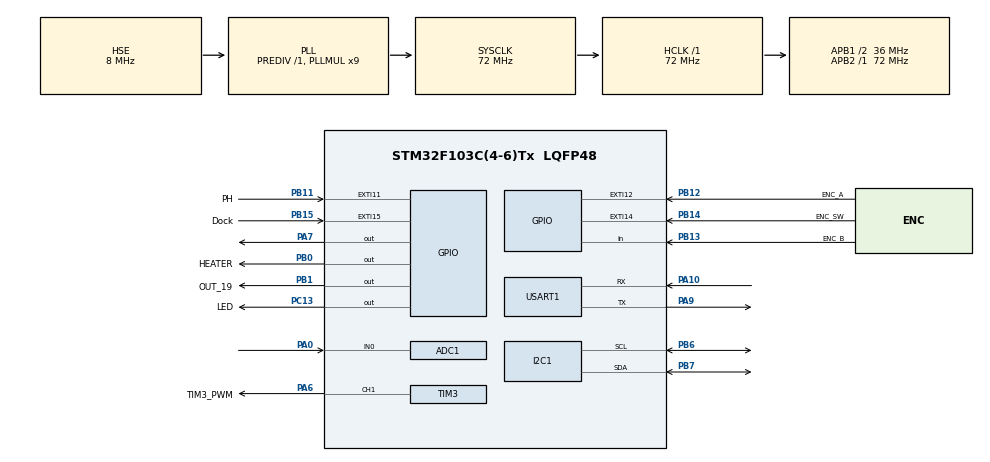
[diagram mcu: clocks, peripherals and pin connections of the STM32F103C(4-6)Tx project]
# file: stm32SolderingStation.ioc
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ADC1.Channel-3\#ChannelRegularConversion=ADC_CHANNEL_VREFINT
ADC1.Channel-4\#ChannelRegularConversion=ADC_CHANNEL_TEMPSENSOR
ADC1.Channel-5\#ChannelRegularConversion=ADC_CHANNEL_0
ADC1.ContinuousConvMode=DISABLE
ADC1.EnableRegularConversion=ENABLE
ADC1.NbrOfConversion=3
ADC1.NbrOfConversionFlag=1
ADC1.Rank-3\#ChannelRegularConversion=1
ADC1.Rank-4\#ChannelRegularConversion=2
ADC1.Rank-5\#ChannelRegularConversion=3
ADC1.SamplingTime-3\#ChannelRegularConversion=ADC_SAMPLETIME_239CYCLES_5
ADC1.SamplingTime-4\#ChannelRegularConversion=ADC_SAMPLETIME_239CYCLES_5
ADC1.SamplingTime-5\#ChannelRegularConversion=ADC_SAMPLETIME_239CYCLES_5
ADC1.master=1
Dma.ADC1.0.Direction=DMA_PERIPH_TO_MEMORY
Dma.ADC1.0.Instance=DMA1_Channel1
Dma.ADC1.0.MemDataAlignment=DMA_MDATAALIGN_WORD
Dma.ADC1.0.MemInc=DMA_MINC_ENABLE
Dma.ADC1.0.Mode=DMA_CIRCULAR
Dma.ADC1.0.PeriphDataAlignment=DMA_PDATAALIGN_WORD
Dma.ADC1.0.PeriphInc=DMA_PINC_DISABLE
Dma.ADC1.0.Priority=DMA_PRIORITY_LOW
Dma.Request0=ADC1
I2C1.I2C_Mode=I2C_Fast
Mcu.Family=STM32F1
Mcu.Name=STM32F103C(4-6)Tx
Mcu.Package=LQFP48
NVIC.ADC1_2_IRQn=true\:0\:0\:false\:false\:true\:true\:true\:true
NVIC.DMA1_Channel1_IRQn=true\:0\:0\:false\:false\:true\:false\:true\:true
NVIC.EXTI15_10_IRQn=true\:1\:0\:true\:false\:true\:true\:true\:true
NVIC.I2C1_ER_IRQn=true\:0\:0\:false\:false\:true\:true\:true\:true
NVIC.I2C1_EV_IRQn=true\:0\:0\:false\:false\:true\:true\:true\:true
NVIC.PriorityGroup=NVIC_PRIORITYGROUP_4
NVIC.TIM2_IRQn=true\:0\:0\:false\:false\:true\:true\:true\:true
PA0-WKUP.Signal=ADCx_IN0
PA1.Signal=ADCx_IN1
PA10.Mode=Asynchronous
PA10.Signal=USART1_RX
PA13.Mode=Serial_Wire
PA13.Signal=SYS_JTMS-SWDIO
PA14.Mode=Serial_Wire
PA14.Signal=SYS_JTCK-SWCLK
PA6.GPIO_Label=TIM3_PWM
PA6.Signal=S_TIM3_CH1
PA7.Signal=GPIO_Output
PA9.Mode=Asynchronous
PA9.Signal=USART1_TX
PB0.GPIO_Label=HEATER
PB0.Signal=GPIO_Output
PB1.GPIO_Label=OUT_19
PB1.Signal=GPIO_Output
PB11.GPIO_Label=PH
PB11.GPIO_ModeDefaultEXTI=GPIO_MODE_IT_RISING_FALLING
PB11.GPIO_PuPd=GPIO_PULLUP
PB11.Signal=GPXTI11
PB12.GPIO_Label=ENC_A
PB12.GPIO_PuPd=GPIO_PULLUP
PB12.Signal=GPXTI12
PB13.GPIO_Label=ENC_B
PB13.GPIO_PuPd=GPIO_PULLUP
PB13.Signal=GPIO_Input
PB14.GPIO_Label=ENC_SW
PB14.GPIO_ModeDefaultEXTI=GPIO_MODE_IT_RISING_FALLING
PB14.GPIO_PuPd=GPIO_PULLUP
PB14.Signal=GPXTI14
PB15.GPIO_Label=Dock
PB15.GPIO_ModeDefaultEXTI=GPIO_MODE_IT_RISING_FALLING
PB15.GPIO_PuPd=GPIO_PULLUP
PB15.Signal=GPXTI15
PB6.Mode=I2C
PB6.Signal=I2C1_SCL
PB7.Mode=I2C
PB7.Signal=I2C1_SDA
PC13-TAMPER-RTC.GPIO_Label=LED
PC13-TAMPER-RTC.Signal=GPIO_Output
PD0-OSC_IN.Mode=HSE-External-Oscillator
PD0-OSC_IN.Signal=RCC_OSC_IN
PD1-OSC_OUT.Mode=HSE-External-Oscillator
PD1-OSC_OUT.Signal=RCC_OSC_OUT
ProjectManager.HeapSize=0x200
ProjectManager.StackSize=0x400
ProjectManager.TargetToolchain=STM32CubeIDE
RCC.ADCPresc=RCC_ADCPCLK2_DIV6
RCC.AHBFreq_Value=72000000
RCC.APB1CLKDivider=RCC_HCLK_DIV2
RCC.APB1Freq_Value=36000000
RCC.APB1TimFreq_Value=72000000
RCC.APB2Freq_Value=72000000
RCC.APB2TimFreq_Value=72000000
RCC.HCLKFreq_Value=72000000
RCC.PLLMUL=RCC_PLL_MUL9
RCC.PLLSourceVirtual=RCC_PLLSOURCE_HSE
RCC.SYSCLKFreq_VALUE=72000000
RCC.SYSCLKSource=RCC_SYSCLKSOURCE_PLLCLK
RCC.USBFreq_Value=72000000
SH.ADCx_IN0.0=ADC1_IN0,IN0
SH.ADCx_IN1.0=ADC1_IN1
SH.S_TIM3_CH1.0=TIM3_CH1,PWM Generation1 CH1
TIM2.AutoReloadPreload=TIM_AUTORELOAD_PRELOAD_DISABLE
TIM2.Period=10-1
TIM2.Prescaler=7200-1
TIM3.Channel-PWM\ Generation1\ CH1=TIM_CHANNEL_1
TIM3.Period=1000
TIM3.Prescaler=71
TIM3.Pulse-PWM\ Generation1\ CH1=400
USART1.VirtualMode=VM_ASYNC
VP_ADC1_TempSens_Input.Mode=IN-TempSens
VP_ADC1_Vref_Input.Mode=IN-Vrefint
VP_TIM2_VS_ClockSourceINT.Mode=Internal
VP_TIM3_VS_ClockSourceINT.Mode=Internal
board=custom

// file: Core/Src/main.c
/* USER CODE BEGIN Header */
/**
  ******************************************************************************
  * @file           : main.c
  * @brief          : Main program body
  ******************************************************************************
  * @attention
  *
  * Copyright (c) 2023 STMicroelectronics.
  * All rights reserved.
  *
  * This software is licensed under terms that can be found in the LICENSE file
  * in the root directory of this software component.
  * If no LICENSE file comes with this software, it is provided AS-IS.
  *
  ******************************************************************************
  */
/* USER CODE END Header */
#include "main.h"

/* USER CODE BEGIN Includes */
#include "common.h"
#include "input.h"
#include "eeprom.h"
//#include "test.h"
#include "buzzerTone.h"

static const int GUI_UPDATE_COUNT = 2; // need change when ADC cycle change to make gui refresh rate at 5/second
//#include "fonts.h"
//#include "ssd1306.h"
/* USER CODE END Includes */

ADC_HandleTypeDef hadc1;
DMA_HandleTypeDef hdma_adc1;

I2C_HandleTypeDef hi2c1;

TIM_HandleTypeDef htim2;
TIM_HandleTypeDef htim3;

UART_HandleTypeDef huart1;

void SystemClock_Config(void);
static void MX_GPIO_Init(void);
static void MX_DMA_Init(void);
static void MX_ADC1_Init(void);
static void MX_I2C1_Init(void);
static void MX_TIM2_Init(void);
static void MX_USART1_UART_Init(void);
static void MX_TIM3_Init(void);

/* USER CODE BEGIN 0 */

uint32_t tempVal;
volatile uint16_t mcreadValue;
volatile uint32_t adcValues[3];
GPIO_PinState preSt = 0;

volatile uint16_t adcCount = 0;

volatile bool updateGui = false; // flag 1-- update GUI

volatile uint8_t HCTickCount = 100; // timer2 tick count. initialized as HCTickMax so adc&&tempCheck can be started immediately.

void sendMsg(char* msg, uint16_t len){
	HAL_UART_Transmit(&huart1, msg , len, 1000);
}
void checkState(){
	if(save2Eeprom()){
		cfgSaveEncTick(getState()->encoderTick);
	}
	checkStateTimeout(HAL_GetTick() );

	// since ext int not work on Han_Dock_Pin, here is the work around
    //checkHighPowerPaddle();
}

void doIt(struct State *pState) {
	HAL_GPIO_TogglePin(GPIOA, GPIO_PIN_7); //test while loop freq
	//HAL_GPIO_TogglePin(LED_GPIO_Port, LED_GPIO_Port);
	checkState();
	//checkBeepFlag();
	if (isExti()) {
		// check input exit interrupt
		resetExti();
	}
	//toneTickHandler();
	if (updateGui ) {
		updateGui = false;
		pState->currentTemp = v2temp(pState->currentAdcVal);
		guiUpdate(adcValues); //TODO
	}
}

/* USER CODE END 0 */

int main(void)
{
  /* USER CODE BEGIN 1 */
	uint8_t message[10] = {' '};
	sendMsg("start", 5);

  /* USER CODE END 1 */

  /* MCU Configuration--------------------------------------------------------*/

  /* Reset of all peripherals, Initializes the Flash interface and the Systick. */
  HAL_Init();

  /* Configure the system clock */
  SystemClock_Config();

  /* Initialize all configured peripherals */
  MX_GPIO_Init();
  MX_DMA_Init();
  MX_ADC1_Init();
  MX_I2C1_Init();
  MX_TIM2_Init();
  MX_USART1_UART_Init();
  MX_TIM3_Init();
  /* USER CODE BEGIN 2 */

  HAL_TIM_Base_Start_IT(&htim2);
  HAL_ADCEx_Calibration_Start(&hadc1);
  // HAL_TIM_PWM_Start(&htim3, TIM_CHANNEL_1);
   //__HAL_TIM_SET_COMPARE(&htim3, TIM_CHANNEL_1, 500);// 50 duty cycle

  //testInit(&hi2c1, &huart1);
  struct State* pState = getState();
  cfgInit(&hi2c1, &huart1);
  heaterInit(LED_GPIO_Port, LED_Pin);

  //testCfg();// replace this with cfg function to load config data from eeprom
  // testPages();
  // testTemp2V();

  //buzzToneInit(&htim3); //TODO
  input_init( );//TODO
  guiInit();

  stateSetMode(OFF);
	pState->preSetTemp = cfgGetEncTick(); //TODO = 320
	pState->highPower = false;
	pState->highPowerTemp = 360;// cfgGetEncTick(); TODO
	encoderSetTick(pState->preSetTemp);
	heaterSetTemp(pState->preSetTemp);
	HCAset(HCAOnOff);
//  __HAL_TIM_SET_COMPARE(&htim3, TIM_CHANNEL_1, 500);
//  	HAL_TIM_OC_Start(&htim3, TIM_CHANNEL_1);
//  	TIM3->ARR = 1000;
//  	HAL_Delay(1000);
//  	HAL_TIM_OC_Stop(&htim3, TIM_CHANNEL_1);

  /* USER CODE END 2 */

  /* Infinite loop */
  /* USER CODE BEGIN WHILE */
  while (1)
  {
	doIt(pState);
	// other checks TODO

    /* USER CODE END WHILE */

  }
}

void SystemClock_Config(void)
{
  RCC_OscInitTypeDef RCC_OscInitStruct = {0};
  RCC_ClkInitTypeDef RCC_ClkInitStruct = {0};
  RCC_PeriphCLKInitTypeDef PeriphClkInit = {0};

  /** Initializes the RCC Oscillators according to the specified parameters
  * in the RCC_OscInitTypeDef structure.
  */
  RCC_OscInitStruct.OscillatorType = RCC_OSCILLATORTYPE_HSE;
  RCC_OscInitStruct.HSEState = RCC_HSE_ON;
  RCC_OscInitStruct.HSEPredivValue = RCC_HSE_PREDIV_DIV1;
  RCC_OscInitStruct.HSIState = RCC_HSI_ON;
  RCC_OscInitStruct.PLL.PLLState = RCC_PLL_ON;
  RCC_OscInitStruct.PLL.PLLSource = RCC_PLLSOURCE_HSE;
  RCC_OscInitStruct.PLL.PLLMUL = RCC_PLL_MUL9;
  if (HAL_RCC_OscConfig(&RCC_OscInitStruct) != HAL_OK)
  {
    Error_Handler();
  }

  /** Initializes the CPU, AHB and APB buses clocks
  */
  RCC_ClkInitStruct.ClockType = RCC_CLOCKTYPE_HCLK|RCC_CLOCKTYPE_SYSCLK
                              |RCC_CLOCKTYPE_PCLK1|RCC_CLOCKTYPE_PCLK2;
  RCC_ClkInitStruct.SYSCLKSource = RCC_SYSCLKSOURCE_PLLCLK;
  RCC_ClkInitStruct.AHBCLKDivider = RCC_SYSCLK_DIV1;
  RCC_ClkInitStruct.APB1CLKDivider = RCC_HCLK_DIV2;
  RCC_ClkInitStruct.APB2CLKDivider = RCC_HCLK_DIV1;

  if (HAL_RCC_ClockConfig(&RCC_ClkInitStruct, FLASH_LATENCY_2) != HAL_OK)
  {
    Error_Handler();
  }
  PeriphClkInit.PeriphClockSelection = RCC_PERIPHCLK_ADC;
  PeriphClkInit.AdcClockSelection = RCC_ADCPCLK2_DIV6;
  if (HAL_RCCEx_PeriphCLKConfig(&PeriphClkInit) != HAL_OK)
  {
    Error_Handler();
  }
}

static void MX_ADC1_Init(void)
{

  ADC_ChannelConfTypeDef sConfig = {0};

  /** Common config
  */
  hadc1.Instance = ADC1;
  hadc1.Init.ScanConvMode = ADC_SCAN_ENABLE;
  hadc1.Init.ContinuousConvMode = DISABLE;
  hadc1.Init.DiscontinuousConvMode = DISABLE;
  hadc1.Init.ExternalTrigConv = ADC_SOFTWARE_START;
  hadc1.Init.DataAlign = ADC_DATAALIGN_RIGHT;
  hadc1.Init.NbrOfConversion = 3;
  if (HAL_ADC_Init(&hadc1) != HAL_OK)
  {
    Error_Handler();
  }

  /** Configure Regular Channel
  */
  sConfig.Channel = ADC_CHANNEL_VREFINT;
  sConfig.Rank = ADC_REGULAR_RANK_1;
  sConfig.SamplingTime = ADC_SAMPLETIME_239CYCLES_5;
  if (HAL_ADC_ConfigChannel(&hadc1, &sConfig) != HAL_OK)
  {
    Error_Handler();
  }

  /** Configure Regular Channel
  */
  sConfig.Channel = ADC_CHANNEL_TEMPSENSOR;
  sConfig.Rank = ADC_REGULAR_RANK_2;
  if (HAL_ADC_ConfigChannel(&hadc1, &sConfig) != HAL_OK)
  {
    Error_Handler();
  }

  /** Configure Regular Channel
  */
  sConfig.Channel = ADC_CHANNEL_0;
  sConfig.Rank = ADC_REGULAR_RANK_3;
  if (HAL_ADC_ConfigChannel(&hadc1, &sConfig) != HAL_OK)
  {
    Error_Handler();
  }

}

static void MX_I2C1_Init(void)
{

  hi2c1.Instance = I2C1;
  hi2c1.Init.ClockSpeed = 400000;
  hi2c1.Init.DutyCycle = I2C_DUTYCYCLE_2;
  hi2c1.Init.OwnAddress1 = 0;
  hi2c1.Init.AddressingMode = I2C_ADDRESSINGMODE_7BIT;
  hi2c1.Init.DualAddressMode = I2C_DUALADDRESS_DISABLE;
  hi2c1.Init.OwnAddress2 = 0;
  hi2c1.Init.GeneralCallMode = I2C_GENERALCALL_DISABLE;
  hi2c1.Init.NoStretchMode = I2C_NOSTRETCH_DISABLE;
  if (HAL_I2C_Init(&hi2c1) != HAL_OK)
  {
    Error_Handler();
  }

}

static void MX_TIM2_Init(void)
{

  TIM_ClockConfigTypeDef sClockSourceConfig = {0};
  TIM_MasterConfigTypeDef sMasterConfig = {0};

  htim2.Instance = TIM2;
  htim2.Init.Prescaler = 7200-1;
  htim2.Init.CounterMode = TIM_COUNTERMODE_UP;
  htim2.Init.Period = 10-1;
  htim2.Init.ClockDivision = TIM_CLOCKDIVISION_DIV1;
  htim2.Init.AutoReloadPreload = TIM_AUTORELOAD_PRELOAD_DISABLE;
  if (HAL_TIM_Base_Init(&htim2) != HAL_OK)
  {
    Error_Handler();
  }
  sClockSourceConfig.ClockSource = TIM_CLOCKSOURCE_INTERNAL;
  if (HAL_TIM_ConfigClockSource(&htim2, &sClockSourceConfig) != HAL_OK)
  {
    Error_Handler();
  }
  sMasterConfig.MasterOutputTrigger = TIM_TRGO_RESET;
  sMasterConfig.MasterSlaveMode = TIM_MASTERSLAVEMODE_DISABLE;
  if (HAL_TIMEx_MasterConfigSynchronization(&htim2, &sMasterConfig) != HAL_OK)
  {
    Error_Handler();
  }

}

static void MX_TIM3_Init(void)
{

  TIM_ClockConfigTypeDef sClockSourceConfig = {0};
  TIM_MasterConfigTypeDef sMasterConfig = {0};
  TIM_OC_InitTypeDef sConfigOC = {0};

  htim3.Instance = TIM3;
  htim3.Init.Prescaler = 71;
  htim3.Init.CounterMode = TIM_COUNTERMODE_UP;
  htim3.Init.Period = 1000;
  htim3.Init.ClockDivision = TIM_CLOCKDIVISION_DIV1;
  htim3.Init.AutoReloadPreload = TIM_AUTORELOAD_PRELOAD_DISABLE;
  if (HAL_TIM_Base_Init(&htim3) != HAL_OK)
  {
    Error_Handler();
  }
  sClockSourceConfig.ClockSource = TIM_CLOCKSOURCE_INTERNAL;
  if (HAL_TIM_ConfigClockSource(&htim3, &sClockSourceConfig) != HAL_OK)
  {
    Error_Handler();
  }
  if (HAL_TIM_PWM_Init(&htim3) != HAL_OK)
  {
    Error_Handler();
  }
  sMasterConfig.MasterOutputTrigger = TIM_TRGO_RESET;
  sMasterConfig.MasterSlaveMode = TIM_MASTERSLAVEMODE_DISABLE;
  if (HAL_TIMEx_MasterConfigSynchronization(&htim3, &sMasterConfig) != HAL_OK)
  {
    Error_Handler();
  }
  sConfigOC.OCMode = TIM_OCMODE_PWM1;
  sConfigOC.Pulse = 400;
  sConfigOC.OCPolarity = TIM_OCPOLARITY_HIGH;
  sConfigOC.OCFastMode = TIM_OCFAST_DISABLE;
  if (HAL_TIM_PWM_ConfigChannel(&htim3, &sConfigOC, TIM_CHANNEL_1) != HAL_OK)
  {
    Error_Handler();
  }
  HAL_TIM_MspPostInit(&htim3);

}

static void MX_USART1_UART_Init(void)
{

  huart1.Instance = USART1;
  huart1.Init.BaudRate = 115200;
  huart1.Init.WordLength = UART_WORDLENGTH_8B;
  huart1.Init.StopBits = UART_STOPBITS_1;
  huart1.Init.Parity = UART_PARITY_NONE;
  huart1.Init.Mode = UART_MODE_TX_RX;
  huart1.Init.HwFlowCtl = UART_HWCONTROL_NONE;
  huart1.Init.OverSampling = UART_OVERSAMPLING_16;
  if (HAL_UART_Init(&huart1) != HAL_OK)
  {
    Error_Handler();
  }

}

static void MX_DMA_Init(void)
{

  /* DMA controller clock enable */
  __HAL_RCC_DMA1_CLK_ENABLE();

  /* DMA interrupt init */
  /* DMA1_Channel1_IRQn interrupt configuration */
  HAL_NVIC_SetPriority(DMA1_Channel1_IRQn, 0, 0);
  HAL_NVIC_EnableIRQ(DMA1_Channel1_IRQn);

}

static void MX_GPIO_Init(void)
{
  GPIO_InitTypeDef GPIO_InitStruct = {0};

  /* GPIO Ports Clock Enable */
  __HAL_RCC_GPIOC_CLK_ENABLE();
  __HAL_RCC_GPIOD_CLK_ENABLE();
  __HAL_RCC_GPIOA_CLK_ENABLE();
  __HAL_RCC_GPIOB_CLK_ENABLE();

  /*Configure GPIO pin Output Level */
  HAL_GPIO_WritePin(LED_GPIO_Port, LED_Pin, GPIO_PIN_RESET);

  /*Configure GPIO pin Output Level */
  HAL_GPIO_WritePin(GPIOA, GPIO_PIN_7, GPIO_PIN_RESET);

  /*Configure GPIO pin Output Level */
  HAL_GPIO_WritePin(GPIOB, HEATER_Pin|OUT_19_Pin, GPIO_PIN_RESET);

  /*Configure GPIO pin : LED_Pin */
  GPIO_InitStruct.Pin = LED_Pin;
  GPIO_InitStruct.Mode = GPIO_MODE_OUTPUT_PP;
  GPIO_InitStruct.Pull = GPIO_NOPULL;
  GPIO_InitStruct.Speed = GPIO_SPEED_FREQ_LOW;
  HAL_GPIO_Init(LED_GPIO_Port, &GPIO_InitStruct);

  /*Configure GPIO pin : PA7 */
  GPIO_InitStruct.Pin = GPIO_PIN_7;
  GPIO_InitStruct.Mode = GPIO_MODE_OUTPUT_PP;
  GPIO_InitStruct.Pull = GPIO_NOPULL;
  GPIO_InitStruct.Speed = GPIO_SPEED_FREQ_LOW;
  HAL_GPIO_Init(GPIOA, &GPIO_InitStruct);

  /*Configure GPIO pins : HEATER_Pin OUT_19_Pin */
  GPIO_InitStruct.Pin = HEATER_Pin|OUT_19_Pin;
  GPIO_InitStruct.Mode = GPIO_MODE_OUTPUT_PP;
  GPIO_InitStruct.Pull = GPIO_NOPULL;
  GPIO_InitStruct.Speed = GPIO_SPEED_FREQ_LOW;
  HAL_GPIO_Init(GPIOB, &GPIO_InitStruct);

  /*Configure GPIO pins : PH_Pin ENC_SW_Pin Dock_Pin */
  GPIO_InitStruct.Pin = PH_Pin|ENC_SW_Pin|Dock_Pin;
  GPIO_InitStruct.Mode = GPIO_MODE_IT_RISING_FALLING;
  GPIO_InitStruct.Pull = GPIO_PULLUP;
  HAL_GPIO_Init(GPIOB, &GPIO_InitStruct);

  /*Configure GPIO pin : ENC_A_Pin */
  GPIO_InitStruct.Pin = ENC_A_Pin;
  GPIO_InitStruct.Mode = GPIO_MODE_IT_RISING;
  GPIO_InitStruct.Pull = GPIO_PULLUP;
  HAL_GPIO_Init(ENC_A_GPIO_Port, &GPIO_InitStruct);

  /*Configure GPIO pin : ENC_B_Pin */
  GPIO_InitStruct.Pin = ENC_B_Pin;
  GPIO_InitStruct.Mode = GPIO_MODE_INPUT;
  GPIO_InitStruct.Pull = GPIO_PULLUP;
  HAL_GPIO_Init(ENC_B_GPIO_Port, &GPIO_InitStruct);

  /* EXTI interrupt init*/
  HAL_NVIC_SetPriority(EXTI15_10_IRQn, 1, 0);
  HAL_NVIC_EnableIRQ(EXTI15_10_IRQn);

}

/* USER CODE BEGIN 4 */

// EXTI Line9 External Interrupt ISR Handler CallBackFun
 void HAL_GPIO_EXTI_Callback(uint16_t GPIO_Pin)
{
	 exti_callback(GPIO_Pin);
}

 void HAL_ADC_ConvCpltCallback(ADC_HandleTypeDef* hadc)
 {
	//HAL_GPIO_WritePin(BEEP_GPIO_Port, BEEP_GPIO_Port, 0);
	//HAL_GPIO_WritePin(OUT_17_GPIO_Port, OUT_17_Pin,1);// set test signal
 	HAL_GPIO_WritePin(OUT_19_GPIO_Port, OUT_19_Pin, 1);

 	heaterEnable(true); // enable heater which make heater be able to be turn on
	// heater check startS
	getState()->currentAdcVal = adcValues[2];
	getState()->encoderTick = encoderGetTick();
	if (getState()->mode == OFF  || getState()->mode == SETTING ){
		heaterOff();
	}else{
		heaterCheckTemp(getState()->currentAdcVal , getState()->encoderTick);
	}

	adcCount++;

	if (adcCount >= GUI_UPDATE_COUNT) {
		adcCount = 0;
		updateGui = true;
	}
 }
void startADC(){
	heaterEnable(false); // disable and  turn off heater before ADC start.
	// it takes 3.5us to shut down the PMOSEFT -- 2us delay, 0.5us drop to zero, 1us ripple time
	// it takes about 20-40 us for OP to make output voltage get ready for ADC conversion.
	// it configured to takes 70us to complete ADC conversion on 3 channels, each with 239.5 cycle sampling time
	// 1 refV, 2 tempreture, 3 ch0, so the ch0 will have the right thermal voltage  value to ADC conversion

	HAL_GPIO_WritePin(OUT_19_GPIO_Port, OUT_19_Pin, 0);// set test signal
	HAL_ADC_Start_DMA(&hadc1, adcValues, 3);  //
}
 void HAL_TIM_PeriodElapsedCallback(TIM_HandleTypeDef *htim)
 {
	 if (htim == &htim2){
		 HCTickCount++;
		 if( HCTickCount >= getHCTickMax()){// reset adc && temp check cycle
			 HCTickCount = 0; //
			 startADC();
		 }
		 else if (HCTickCount >= getPowerLevel()){
			 heaterEnable(false); //   heater off
		 }
	 }
 }

/* USER CODE END 4 */

void Error_Handler(void)
{
  __disable_irq();
  while (1)
  {
  }
}
